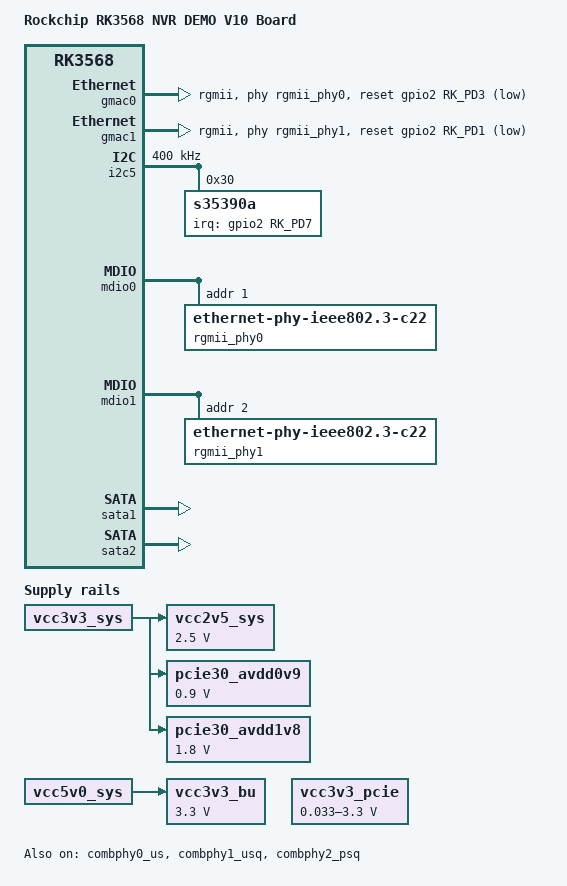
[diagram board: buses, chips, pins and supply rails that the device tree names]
// SPDX-License-Identifier: (GPL-2.0+ OR MIT)
/*
 * Copyright (c) 2020 Rockchip Electronics Co., Ltd.
 *
 */

/dts-v1/;

#include "rk3568-nvr.dtsi"
#include <dt-bindings/clock/rk618-cru.h>

/ {
	model = "Rockchip RK3568 NVR DEMO V10 Board";
	compatible = "rockchip,rk3568-nvr-demo-v10", "rockchip,rk3568";

	matrix_nvr: matrix-nvr {
		
		pinctrl-0 = <&matrix_nvr_gpios>;
		status = "okay";
	};
	
	/*gpio-leds {
		compatible = "gpio-leds";

		hdd-led {
			gpios = <&gpio4 RK_PC5 GPIO_ACTIVE_HIGH>;
			default-state = "off";
		};
		net-led {
			gpios = <&gpio4 RK_PC6 GPIO_ACTIVE_HIGH>;
			default-state = "off";
		};
		work-led {
			gpios = <&gpio0 RK_PC4 GPIO_ACTIVE_HIGH>;
			linux,default-trigger = "timer";
		};
	};*/

	/*i2s1_sound: i2s1-sound {
		status = "disabled";
		compatible = "simple-audio-card";
		simple-audio-card,format = "i2s";
		simple-audio-card,mclk-fs = <256>;
		simple-audio-card,name = "rockchip,i2s1-sound";
		simple-audio-card,cpu {
			sound-dai = <&i2s1_8ch>;
		};
		simple-audio-card,codec {
			sound-dai = <&es8311>;
		};
	};*/

	vcc2v5_sys: vcc2v5-ddr {
		compatible = "regulator-fixed";
		regulator-name = "vcc2v5-sys";
		regulator-always-on;
		regulator-boot-on;
		regulator-min-microvolt = <2500000>;
		regulator-max-microvolt = <2500000>;
		vin-supply = <&vcc3v3_sys>;
	};

	/*
	vcc3v3_pcie: gpio-regulator {
		compatible = "regulator-fixed";
		regulator-name = "vcc3v3_pcie";
		regulator-min-microvolt = <3300000>;
		regulator-max-microvolt = <3300000>;
		gpio = <&gpio0 RK_PD4 GPIO_ACTIVE_HIGH>;
		startup-delay-us = <5000>;
		vin-supply = <&dc_12v>;
	};
	*/

	pcie30_avdd0v9: pcie30-avdd0v9 {
		compatible = "regulator-fixed";
		regulator-name = "pcie30_avdd0v9";
		regulator-always-on;
		regulator-boot-on;
		regulator-min-microvolt = <900000>;
		regulator-max-microvolt = <900000>;
		vin-supply = <&vcc3v3_sys>;
	};

	pcie30_avdd1v8: pcie30-avdd1v8 {
		compatible = "regulator-fixed";
		regulator-name = "pcie30_avdd1v8";
		regulator-always-on;
		regulator-boot-on;
		regulator-min-microvolt = <1800000>;
		regulator-max-microvolt = <1800000>;
		vin-supply = <&vcc3v3_sys>;
	};
	
	vcc3v3_pcie: gpio-regulator {
		compatible = "regulator-gpio";
		regulator-name = "vcc3v3_pcie";
		regulator-min-microvolt = <0100000>;
		regulator-max-microvolt = <3300000>;
		gpio = <&gpio0 RK_PD4 GPIO_ACTIVE_HIGH>;
		startup-delay-us = <5000>;
		gpio-states = <0x1>;
		states = <0100000 0x0
			  3300000 0x1>;
	};

	vcc3v3_bu: vcc3v3-bu {
		compatible = "regulator-fixed";
		regulator-name = "vcc3v3_bu";
		regulator-always-on;
		regulator-boot-on;
		regulator-min-microvolt = <3300000>;
		regulator-max-microvolt = <3300000>;
		vin-supply = <&vcc5v0_sys>;
	};
};

&combphy0_us {
	status = "okay";
};

&combphy1_usq {
	pinctrl-names = "default";
	pinctrl-0 = <&sata_pm_reset>;
	rockchip,dis-u3otg1-port;
	status = "okay";
};

&combphy2_psq{
	status = "okay";
};

&csi2_dphy_hw {
	status = "disabled";
};

&csi2_dphy0 {
	status = "disabled";
	ports {
		#address-cells = <1>;
		#size-cells = <0>;
		port@0 {
			reg = <0>;
			#address-cells = <1>;
			#size-cells = <0>;
			mipi_in_ucam0: endpoint@1 {
				reg = <1>;
				remote-endpoint = <&ucam_out0>;
				data-lanes = <1 2 3 4>;
			};
		};
		port@1 {
			reg = <1>;
			#address-cells = <1>;
			#size-cells = <0>;
			csidphy_out: endpoint@0 {
				reg = <0>;
				remote-endpoint = <&mipi_csi2_input>;
			};
		};
	};
};

&gmac0 {
	phy-mode = "rgmii";
	clock_in_out = "input";

	snps,reset-gpio = <&gpio2 RK_PD3 GPIO_ACTIVE_LOW>;
	snps,reset-active-low;
	/* Reset time is 20ms, 100ms for rtl8211f */
	snps,reset-delays-us = <0 20000 100000>;

	assigned-clocks = <&cru SCLK_GMAC0_RX_TX>, <&cru SCLK_GMAC0>, <&cru CLK_MAC0_OUT>;
        assigned-clock-parents = <&cru SCLK_GMAC0_RGMII_SPEED>, <&gmac0_clkin>;
        assigned-clock-rates = <0>, <125000000>, <25000000>;

	pinctrl-names = "default";
	pinctrl-0 = <&gmac0_miim
		     &gmac0_tx_bus2
		     &gmac0_rx_bus2
		     &gmac0_rgmii_clk
		     &gmac0_rgmii_bus
		     &gmac0_clkinout
		     &gmac0_refclko25m>;

	tx_delay = <0x43>;
	rx_delay = <0x33>;

	phy-handle = <&rgmii_phy0>;
	status = "okay";
};

&gmac1 {
	phy-mode = "rgmii";
	clock_in_out = "input";

	snps,reset-gpio = <&gpio2 RK_PD1 GPIO_ACTIVE_LOW>;
	snps,reset-active-low;
	/* Reset time is 20ms, 100ms for rtl8211f */
	snps,reset-delays-us = <0 20000 100000>;

	 assigned-clocks = <&cru SCLK_GMAC1_RX_TX>, <&cru SCLK_GMAC1>, <&cru CLK_MAC1_OUT>;
        assigned-clock-parents = <&cru SCLK_GMAC1_RGMII_SPEED>, <&gmac1_clkin>;
        assigned-clock-rates = <0>, <125000000>, <25000000>;

	pinctrl-names = "default";
	pinctrl-0 = <&gmac1m1_miim
		     &gmac1m1_tx_bus2
		     &gmac1m1_rx_bus2
		     &gmac1m1_rgmii_clk
		     &gmac1m1_rgmii_bus
		     &gmac1m1_clkinout
                     &gmac1m1_refclko25mm1>;


	tx_delay = <0x4f>;
	rx_delay = <0x2d>;

	phy-handle = <&rgmii_phy1>;
	status = "okay";
};

&i2c5 {
	status = "okay";
	clock-frequency = <400000>;
	
	s35390a: s35390a@30 {
	  
		compatible = "s35390a";
		reg = <0x30>;

		pinctrl-names = "default";
		pinctrl-0 = <&rtc_int>;
		interrupt-parent = <&gpio2>;
		interrupts = <RK_PD7 IRQ_TYPE_LEVEL_LOW>;
	};
};

&i2c3 {
	status = "disabled";
};

&i2c4 {
	status = "disabled";
	imx334: imx334@1a {
		compatible = "sony,imx334";
		reg = <0x1a>;
		clocks = <&cru CLK_CIF_OUT>;
		clock-names = "xvclk";
		power-domains = <&power RK3568_PD_VI>;
		pinctrl-names = "default";
		pinctrl-0 = <&cif_clk>;
		reset-gpios = <&gpio3 RK_PB6 GPIO_ACTIVE_HIGH>;
		pwdn-gpios = <&gpio4 RK_PB4 GPIO_ACTIVE_HIGH>;
		rockchip,camera-module-index = <0>;
		rockchip,camera-module-facing = "back";
		rockchip,camera-module-name = "CMK-OT1607-FV1";
		rockchip,camera-module-lens-name = "M12-40IRC-4MP-F16";
		port {
			ucam_out0: endpoint {
				remote-endpoint = <&mipi_in_ucam0>;
				data-lanes = <1 2 3 4>;
			};
		};
	};
};

&mdio0 {
	rgmii_phy0: phy@0 {
		compatible = "ethernet-phy-ieee802.3-c22";
		reg = <0x1>;
		 clocks = <&cru CLK_MAC0_OUT > ;
	};
};

&mdio1 {
	rgmii_phy1: phy@0 {
		compatible = "ethernet-phy-ieee802.3-c22";
		reg = <0x2>;
		 clocks = <&cru CLK_MAC1_OUT > ;
	};
};

&mipi_csi2 {
	status = "disabled";

	ports {
		#address-cells = <1>;
		#size-cells = <0>;

		port@0 {
			reg = <0>;
			#address-cells = <1>;
			#size-cells = <0>;

			mipi_csi2_input: endpoint@1 {
				reg = <1>;
				remote-endpoint = <&csidphy_out>;
				data-lanes = <1 2 3 4>;
			};
		};

		port@1 {
			reg = <1>;
			#address-cells = <1>;
			#size-cells = <0>;

			mipi_csi2_output: endpoint@0 {
				reg = <0>;
				remote-endpoint = <&cif_mipi_in>;
				data-lanes = <1 2 3 4>;
			};
		};
	};
};

&pcie30phy {
	status = "disabled";
};

&pcie3x1 {
	reset-gpios = <&gpio0 RK_PC3 GPIO_ACTIVE_HIGH>;
	vpcie3v3-supply = <&vcc3v3_pcie>;
	status = "disabled";
};

&pcie3x2 {
	reset-gpios = <&gpio0 RK_PC6 GPIO_ACTIVE_HIGH>;
	vpcie3v3-supply = <&vcc3v3_pcie>;
	status = "disabled";
};


/*
&pwm15 {
	compatible = "rockchip,remotectl-pwm";
	pinctrl-names = "default";
	pinctrl-0 = <&pwm15m1_pins>;
	remote_pwm_id = <3>;
	handle_cpu_id = <1>;
	remote_support_psci = <0>;
	status = "disabled";

	ir_key1 {
		rockchip,usercode = <0x4040>;
		rockchip,key_table =
			<0xf2	KEY_REPLY>,
			<0xba	KEY_BACK>,
			<0xf4	KEY_UP>,
			<0xf1	KEY_DOWN>,
			<0xef	KEY_LEFT>,
			<0xee	KEY_RIGHT>,
			<0xbd	KEY_HOME>,
			<0xea	KEY_VOLUMEUP>,
			<0xe3	KEY_VOLUMEDOWN>,
			<0xe2	KEY_SEARCH>,
			<0xb2	KEY_POWER>,
			<0xbc	KEY_MUTE>,
			<0xec	KEY_MENU>,
			<0xbf	0x190>,
			<0xe0	0x191>,
			<0xe1	0x192>,
			<0xe9	183>,
			<0xe6	248>,
			<0xe8	185>,
			<0xe7	186>,
			<0xf0	388>,
			<0xbe	0x175>;
	};

	ir_key2 {
		rockchip,usercode = <0xff00>;
		rockchip,key_table =
			<0xf9	KEY_HOME>,
			<0xbf	KEY_BACK>,
			<0xfb	KEY_MENU>,
			<0xaa	KEY_REPLY>,
			<0xb9	KEY_UP>,
			<0xe9	KEY_DOWN>,
			<0xb8	KEY_LEFT>,
			<0xea	KEY_RIGHT>,
			<0xeb	KEY_VOLUMEDOWN>,
			<0xef	KEY_VOLUMEUP>,
			<0xf7	KEY_MUTE>,
			<0xe7	KEY_POWER>,
			<0xfc	KEY_POWER>,
			<0xa9	KEY_VOLUMEDOWN>,
			<0xa8	KEY_PLAYPAUSE>,
			<0xe0	KEY_VOLUMEDOWN>,
			<0xa5	KEY_VOLUMEDOWN>,
			<0xab	183>,
			<0xb7	388>,
			<0xe8	388>,
			<0xf8	184>,
			<0xaf	185>,
			<0xed	KEY_VOLUMEDOWN>,
			<0xee	186>,
			<0xb3	KEY_VOLUMEDOWN>,
			<0xf1	KEY_VOLUMEDOWN>,
			<0xf2	KEY_VOLUMEDOWN>,
			<0xf3	KEY_SEARCH>,
			<0xb4	KEY_VOLUMEDOWN>,
			<0xa4	KEY_SETUP>,
			<0xbe	KEY_SEARCH>;
	};

	ir_key3 {
		rockchip,usercode = <0x1dcc>;
		rockchip,key_table =
			<0xee	KEY_REPLY>,
			<0xf0	KEY_BACK>,
			<0xf8	KEY_UP>,
			<0xbb	KEY_DOWN>,
			<0xef	KEY_LEFT>,
			<0xed	KEY_RIGHT>,
			<0xfc	KEY_HOME>,
			<0xf1	KEY_VOLUMEUP>,
			<0xfd	KEY_VOLUMEDOWN>,
			<0xb7	KEY_SEARCH>,
			<0xff	KEY_POWER>,
			<0xf3	KEY_MUTE>,
			<0xbf	KEY_MENU>,
			<0xf9	0x191>,
			<0xf5	0x192>,
			<0xb3	388>,
			<0xbe	KEY_1>,
			<0xba	KEY_2>,
			<0xb2	KEY_3>,
			<0xbd	KEY_4>,
			<0xf9	KEY_5>,
			<0xb1	KEY_6>,
			<0xfc	KEY_7>,
			<0xf8	KEY_8>,
			<0xb0	KEY_9>,
			<0xb6	KEY_0>,
			<0xb5	KEY_BACKSPACE>;
	};
};*/

 /*&rgb {
	status = "disabled";
	pinctrl-names = "default";
	pinctrl-0 = <&lcdc_ctl>;
	ports {
		port@1 {
			reg = <1>;

			rgb_out_hdmi: endpoint {
				remote-endpoint = <&hdmi_in_rgb>;
			};
		};
	};
};

&rgb_in_vp2 {
	status = "okay";
};
*/
&rkcif {
	status = "disabled";
};

&rkcif_mipi_lvds {
	status = "disabled";
	rockchip,cif-monitor = <1 2 5 1000 5>;
	port {
		/* MIPI CSI-2 endpoint */
		cif_mipi_in: endpoint {
			remote-endpoint = <&mipi_csi2_output>;
			data-lanes = <1 2 3 4>;
		};
	};
};

&rkcif_mipi_lvds_sditf {
	status = "disabled";

	port {
		/* sditf endpoint */
		mipi_lvds_sditf: endpoint {
			remote-endpoint = <&isp0_in>;
			data-lanes = <1 2 3 4>;
		};
	};
};

&rkcif_mmu {
	status = "disabled";
};


&rkisp {
	status = "disabled";
};

&rkisp_mmu {
	status = "disabled";
};

&rkisp_vir0 {
	status = "disabled";

	port {
		#address-cells = <1>;
		#size-cells = <0>;

		isp0_in: endpoint@0 {
			reg = <0>;
			remote-endpoint = <&mipi_lvds_sditf>;
		};
	};
};

&sata1 {
	status = "okay";
};

&sata2 {
	status = "okay";
};

&spdif_8ch {
	status = "disabled";
	pinctrl-names = "default";
	pinctrl-0 = <&spdifm1_tx>;
};


&pinctrl {
	/*rk618 {
		rk618_reset: rk618-reeset {
			rockchip,pins = <1 RK_PB2 RK_FUNC_GPIO &pcfg_output_high>;
		};
		rk618_int: rk618-int {
			rockchip,pins = <0 RK_PB0 RK_FUNC_GPIO &pcfg_pull_none>;
		};
	};
	*/
	rtc {
		rtc_int: rtc-int {
			rockchip,pins = <2 RK_PD7 RK_FUNC_GPIO &pcfg_pull_up>;
		};
	};

	stata {
		sata_pm_reset: sata-pm-reset {
			rockchip,pins = <4 RK_PD2 RK_FUNC_GPIO &pcfg_output_high>;
		};
	};

	matrix-nvr {
		matrix_nvr_gpios: matrix-nvr-gpios{
					/* GPIO0_C0_d		GREEN_LED*/
			rockchip,pins = <0 RK_PC0 RK_FUNC_GPIO &pcfg_pull_down>,
					/* GPIO0_C6_d   	ASM_RSTn */
					<0 RK_PC6 RK_FUNC_GPIO &pcfg_pull_up>,
					 /* GPIO0_C7_d  	RED_LED  */
					<0 RK_PC7 RK_FUNC_GPIO &pcfg_pull_down>,
					 /* GPIO0_A5_d          BUZZER */
					 <0 RK_PA5 RK_FUNC_GPIO &pcfg_pull_down>,
					 /* GPIO0_B5_u  	SATA1_TST */
					 <0 RK_PB5 RK_FUNC_GPIO &pcfg_pull_up>,
					  /* GPIO0_B6_u 	SATA2_TST */
					 <0 RK_PB6 RK_FUNC_GPIO &pcfg_pull_up>,
					  /* GPIO0_B7_d		ALM_RLY_CNTL */
					 <0 RK_PB7 RK_FUNC_GPIO &pcfg_pull_down>,
					  /* GPIO0_B3_u		IP_DEFAULT */
					 <0 RK_PB3 RK_FUNC_GPIO &pcfg_pull_up>,
					  /* GPIO1_D5_u (PWM8_M1)	FAN1_CNTL */
					 <1 RK_PD5 RK_FUNC_GPIO &pcfg_pull_up>,
					  /* GPIO1_D6_u (PWM9_M1)	FAN2_CNTL */
					 <1 RK_PD6 RK_FUNC_GPIO &pcfg_pull_up>,
					 /* GPIO3_A0_d		CARD_TYPE_0 */
					 <3 RK_PA0 RK_FUNC_GPIO &pcfg_pull_down>,
					 /* GPIO3_A1_d		CARD_TYPE_1 */
					 <3 RK_PA1 RK_FUNC_GPIO &pcfg_pull_down>,
					 /* GPIO3_A2_d		CARD_TYPE_2 */
					 <3 RK_PA2 RK_FUNC_GPIO &pcfg_pull_down>,
					 /* GPIO3_A2_d		CARD_TYPE_3 */
					 <3 RK_PA3 RK_FUNC_GPIO &pcfg_pull_down>,
					  /* GPIO3_A4_d		BOARD_VER_0 */
					 <3 RK_PA4 RK_FUNC_GPIO &pcfg_pull_down>,
					 /* GPIO3_A5_d		BOARD_VER_1 */
					 <3 RK_PA5 RK_FUNC_GPIO &pcfg_pull_down>,
					 /* GPIO3_A6_d		BOARD_VER_2 */
					 <3 RK_PA6 RK_FUNC_GPIO &pcfg_pull_down>,
					 /* GPIO3_A7_d		BOARD_VER_3 */
					 <3 RK_PA7 RK_FUNC_GPIO &pcfg_pull_down>,
					 /* GPIO3_C0_d		USB2_PWEN0 */
					 <3 RK_PC0 RK_FUNC_GPIO &pcfg_pull_down>,
					  /* GPIO3_C2_d		ALM_IN0 */
					 <3 RK_PC2 RK_FUNC_GPIO &pcfg_pull_down>,
					 /* GPIO3_C3_d		ALM_IN1 */
					 <3 RK_PC3 RK_FUNC_GPIO &pcfg_pull_down>,
					 /* GPIO2_D1_d		PHY1_RST */
					 <2 RK_PD1 RK_FUNC_GPIO &pcfg_pull_down>,
					 /* GPIO2_D3_d		PHY0_RST */
					 <2 RK_PD3 RK_FUNC_GPIO &pcfg_pull_down>,
					  /* GPIO2_A1_u		WDT_EN */
					 <2 RK_PA1 RK_FUNC_GPIO &pcfg_pull_up>,
					 /* GPIO2_A2_d		WDT_B */
					 <2 RK_PA2 RK_FUNC_GPIO &pcfg_pull_down>;
		  
		};
	      
	  
	};
};
